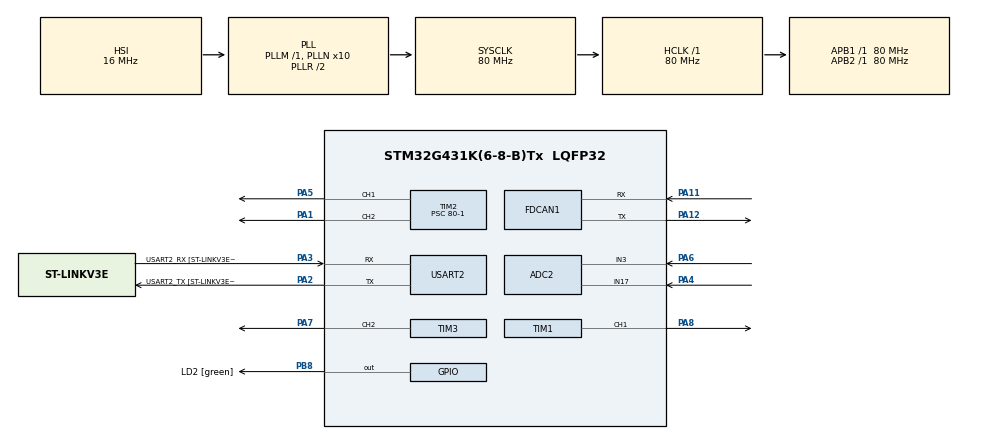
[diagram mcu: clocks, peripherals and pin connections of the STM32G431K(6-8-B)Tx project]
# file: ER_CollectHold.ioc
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ADC2.Channel-0\#ChannelRegularConversion=ADC_CHANNEL_3
ADC2.Channel-1\#ChannelRegularConversion=ADC_CHANNEL_17
ADC2.ContinuousConvMode=ENABLE
ADC2.DMAContinuousRequests=ENABLE
ADC2.NbrOfConversion=2
ADC2.NbrOfConversionFlag=1
ADC2.OffsetNumber-0\#ChannelRegularConversion=ADC_OFFSET_NONE
ADC2.OffsetNumber-1\#ChannelRegularConversion=ADC_OFFSET_NONE
ADC2.Rank-0\#ChannelRegularConversion=1
ADC2.Rank-1\#ChannelRegularConversion=2
ADC2.SamplingTime-0\#ChannelRegularConversion=ADC_SAMPLETIME_92CYCLES_5
ADC2.SamplingTime-1\#ChannelRegularConversion=ADC_SAMPLETIME_92CYCLES_5
Dma.ADC2.0.Direction=DMA_PERIPH_TO_MEMORY
Dma.ADC2.0.EventEnable=DISABLE
Dma.ADC2.0.Instance=DMA1_Channel1
Dma.ADC2.0.MemDataAlignment=DMA_MDATAALIGN_HALFWORD
Dma.ADC2.0.MemInc=DMA_MINC_ENABLE
Dma.ADC2.0.Mode=DMA_CIRCULAR
Dma.ADC2.0.PeriphDataAlignment=DMA_PDATAALIGN_HALFWORD
Dma.ADC2.0.PeriphInc=DMA_PINC_DISABLE
Dma.ADC2.0.Polarity=HAL_DMAMUX_REQ_GEN_RISING
Dma.ADC2.0.Priority=DMA_PRIORITY_LOW
Dma.ADC2.0.RequestNumber=1
Dma.ADC2.0.SignalID=NONE
Dma.ADC2.0.SyncEnable=DISABLE
Dma.ADC2.0.SyncPolarity=HAL_DMAMUX_SYNC_NO_EVENT
Dma.ADC2.0.SyncRequestNumber=1
Dma.ADC2.0.SyncSignalID=NONE
Dma.Request0=ADC2
FDCAN1.CalculateBaudRateNominal=1000000
FDCAN1.CalculateTimeBitNominal=1000
FDCAN1.CalculateTimeQuantumNominal=62.5
FDCAN1.DataPrescaler=2
FDCAN1.DataSyncJumpWidth=2
FDCAN1.DataTimeSeg1=10
FDCAN1.DataTimeSeg2=9
FDCAN1.FrameFormat=FDCAN_FRAME_FD_BRS
FDCAN1.NominalPrescaler=5
FDCAN1.NominalSyncJumpWidth=2
FDCAN1.NominalTimeSeg1=13
FDCAN1.StdFiltersNbr=1
Mcu.Family=STM32G4
Mcu.Name=STM32G431K(6-8-B)Tx
Mcu.Package=LQFP32
NVIC.DMA1_Channel1_IRQn=true\:0\:0\:false\:false\:true\:false\:true\:true
NVIC.FDCAN1_IT0_IRQn=true\:0\:0\:false\:false\:true\:true\:true\:true
NVIC.PriorityGroup=NVIC_PRIORITYGROUP_4
NVIC.TIM1_TRG_COM_TIM17_IRQn=true\:15\:0\:false\:false\:true\:false\:true\:true
NVIC.TimeBase=TIM1_TRG_COM_TIM17_IRQn
NVIC.TimeBaseIP=TIM17
PA1.Signal=S_TIM2_CH2
PA11.Mode=FDCAN_Activate
PA11.Signal=FDCAN1_RX
PA12.Mode=FDCAN_Activate
PA12.Signal=FDCAN1_TX
PA13.GPIO_Label=T_SWDIO
PA13.Mode=Serial_Wire
PA13.Signal=SYS_JTMS-SWDIO
PA14.GPIO_Label=T_SWCLK
PA14.Mode=Serial_Wire
PA14.Signal=SYS_JTCK-SWCLK
PA2.GPIO_Label=USART2_TX [ST-LINKV3E_VCP_RX]
PA2.Mode=Asynchronous
PA2.Signal=USART2_TX
PA3.GPIO_Label=USART2_RX [ST-LINKV3E_VCP_TX]
PA3.Mode=Asynchronous
PA3.Signal=USART2_RX
PA4.Mode=IN17-Single-Ended
PA4.Signal=ADC2_IN17
PA5.Signal=S_TIM2_CH1
PA6.Mode=IN3-Single-Ended
PA6.Signal=ADC2_IN3
PA7.Signal=S_TIM3_CH2
PA8.Signal=S_TIM1_CH1
PB3.GPIO_Label=T_SWO
PB3.Signal=SYS_JTDO-SWO
PB8-BOOT0.GPIO_Label=LD2 [green]
PB8-BOOT0.Signal=GPIO_Output
ProjectManager.HeapSize=0x200
ProjectManager.StackSize=0x400
ProjectManager.TargetToolchain=STM32CubeIDE
RCC.ADC12Freq_Value=80000000
RCC.AHBFreq_Value=80000000
RCC.APB1Freq_Value=80000000
RCC.APB1TimFreq_Value=80000000
RCC.APB2Freq_Value=80000000
RCC.APB2TimFreq_Value=80000000
RCC.CortexFreq_Value=80000000
RCC.EXTERNAL_CLOCK_VALUE=12288000
RCC.HCLKFreq_Value=80000000
RCC.HSE_VALUE=8000000
RCC.HSI48_VALUE=48000000
RCC.HSI_VALUE=16000000
RCC.LSE_VALUE=32768
RCC.PLLN=10
RCC.SYSCLKFreq_VALUE=80000000
RCC.SYSCLKSource=RCC_SYSCLKSOURCE_PLLCLK
RCC.USBFreq_Value=80000000
RCC.VCOOutputFreq_Value=160000000
SH.S_TIM1_CH1.0=TIM1_CH1,PWM Generation1 CH1
SH.S_TIM2_CH1.0=TIM2_CH1,PWM Generation1 CH1
SH.S_TIM2_CH2.0=TIM2_CH2,PWM Generation2 CH2
SH.S_TIM3_CH2.0=TIM3_CH2,PWM Generation2 CH2
TIM1.Channel-PWM\ Generation1\ CH1=TIM_CHANNEL_1
TIM1.PeriodNoDither=1000-1
TIM1.Prescaler=80-1
TIM2.Channel-PWM\ Generation1\ CH1=TIM_CHANNEL_1
TIM2.Channel-PWM\ Generation2\ CH2=TIM_CHANNEL_2
TIM2.PeriodNoDither=1000-1
TIM2.Prescaler=80-1
TIM3.Channel-PWM\ Generation2\ CH2=TIM_CHANNEL_2
TIM3.PeriodNoDither=1000-1
TIM3.Prescaler=80-1
USART2.VirtualMode-Asynchronous=VM_ASYNC
USART2.WordLength=WORDLENGTH_8B
VP_SYS_VS_DBSignals.Mode=DisableDeadBatterySignals
VP_SYS_VS_tim17.Mode=TIM17
VP_TIM1_VS_ClockSourceINT.Mode=Internal
VP_TIM2_VS_ClockSourceINT.Mode=Internal
VP_TIM3_VS_ClockSourceINT.Mode=Internal
board=NUCLEO-G431KB

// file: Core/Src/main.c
/* USER CODE BEGIN Header */
/**
  ******************************************************************************
  * @file           : main.c
  * @brief          : Main program body
  ******************************************************************************
  * @attention
  *
  * <h2><center>&copy; Copyright (c) 2023 STMicroelectronics.
  * All rights reserved.</center></h2>
  *
  * This software component is licensed by ST under BSD 3-Clause license,
  * the "License"; You may not use this file except in compliance with the
  * License. You may obtain a copy of the License at:
  *                        opensource.org/licenses/BSD-3-Clause
  *
  ******************************************************************************
  */
/* USER CODE END Header */
#include "main.h"

/* USER CODE BEGIN Includes */
#include "stdio.h"
/* USER CODE END Includes */

/* USER CODE BEGIN PD */
#define OPEN 0
#define CLOSE 1

#define Kp 1.0f

#define DUTY 400
#define FILTER_C 0.9

#define _min(x, y) ((x < y) ? x : y)
/* USER CODE END PD */

ADC_HandleTypeDef hadc2;
DMA_HandleTypeDef hdma_adc2;

FDCAN_HandleTypeDef hfdcan1;

TIM_HandleTypeDef htim1;
TIM_HandleTypeDef htim2;
TIM_HandleTypeDef htim3;

UART_HandleTypeDef huart2;

/* USER CODE BEGIN PV */
uint16_t ADCBuffer[2];

int status = OPEN;
float ADC_val_0 = 0;
float ADC_val_1 = 0;

FDCAN_TxHeaderTypeDef TxHeader;
FDCAN_RxHeaderTypeDef RxHeader;
FDCAN_FilterTypeDef sFilterConfig;

uint8_t TxData[1];
uint8_t RxData[1];
uint32_t TxMailbox;
/* USER CODE END PV */

void SystemClock_Config(void);
static void MX_GPIO_Init(void);
static void MX_DMA_Init(void);
static void MX_ADC2_Init(void);
static void MX_USART2_UART_Init(void);
static void MX_TIM1_Init(void);
static void MX_TIM2_Init(void);
static void MX_TIM3_Init(void);
static void MX_FDCAN1_Init(void);

int main(void)
{

  /* MCU Configuration--------------------------------------------------------*/

  /* Reset of all peripherals, Initializes the Flash interface and the Systick. */
  HAL_Init();

  /* Configure the system clock */
  SystemClock_Config();

  /* Initialize all configured peripherals */
  MX_GPIO_Init();
  MX_DMA_Init();
  MX_ADC2_Init();
  MX_USART2_UART_Init();
  MX_TIM1_Init();
  MX_TIM2_Init();
  MX_TIM3_Init();
  MX_FDCAN1_Init();
  /* USER CODE BEGIN 2 */
  HAL_ADCEx_Calibration_Start(&hadc2, ADC_SINGLE_ENDED);
  HAL_ADC_Start_DMA(&hadc2, (uint32_t *)ADCBuffer, 2);
  HAL_TIM_PWM_Start(&htim1, TIM_CHANNEL_1);
  HAL_TIM_PWM_Start(&htim2, TIM_CHANNEL_1);
  HAL_TIM_PWM_Start(&htim2, TIM_CHANNEL_2);
  HAL_TIM_PWM_Start(&htim3, TIM_CHANNEL_2);

    TxHeader.Identifier = 0x517;
    TxHeader.IdType = FDCAN_STANDARD_ID;
    TxHeader.TxFrameType = FDCAN_DATA_FRAME;
    TxHeader.DataLength = FDCAN_DLC_BYTES_1;
    TxHeader.ErrorStateIndicator = FDCAN_ESI_ACTIVE;
    TxHeader.BitRateSwitch = FDCAN_BRS_ON;
    TxHeader.FDFormat = FDCAN_FD_CAN;
    TxHeader.TxEventFifoControl = FDCAN_NO_TX_EVENTS;
    TxHeader.MessageMarker = 0;

    FDCAN_FilterTypeDef sFilterConfig;
    sFilterConfig.IdType = FDCAN_STANDARD_ID;
    sFilterConfig.FilterIndex = 0;
    sFilterConfig.FilterType = FDCAN_FILTER_DUAL;
    sFilterConfig.FilterConfig = FDCAN_FILTER_TO_RXFIFO0;
    sFilterConfig.FilterID1 = 0x051;
    sFilterConfig.FilterID2 = 0x321;

    if (HAL_FDCAN_ConfigFilter(&hfdcan1, &sFilterConfig) != HAL_OK) {
        Error_Handler();
    }
    if (HAL_FDCAN_ConfigGlobalFilter(&hfdcan1, FDCAN_REJECT, FDCAN_REJECT, FDCAN_FILTER_REMOTE, FDCAN_FILTER_REMOTE) !=
        HAL_OK) {
        Error_Handler();
    }

    /* Start the FDCAN module */
    if (HAL_FDCAN_Start(&hfdcan1) != HAL_OK) {
        Error_Handler();
    }
    if (HAL_FDCAN_ActivateNotification(&hfdcan1, FDCAN_IT_RX_FIFO0_NEW_MESSAGE, 0) != HAL_OK){
        Error_Handler();
    }
  /* USER CODE END 2 */

  /* Infinite loop */
  /* USER CODE BEGIN WHILE */
  //　ADCBuff[0] -> 3300close, 3400open
  //  ADCbuff[1] -> 1700close，1800open

  //TIM1, TIM_CHANNEL_1 : ADCBuff1 open
  //TIM2, TIM_CHANNEL_1 : ADCBuff0 close
  //TIM2, TIM_CHANNEL_2 : ADCBuff1 close
  //TIM3, TIM_CHANNEL_2 : ADCBuff0 open

  __HAL_TIM_SET_COMPARE(&htim3, TIM_CHANNEL_2, 500);
  HAL_Delay(500);
  __HAL_TIM_SET_COMPARE(&htim3, TIM_CHANNEL_2, 0);
  while (1)
  {
    ADC_val_0 = FILTER_C * ADC_val_0 + (1 - FILTER_C) * ADCBuffer[0];
    ADC_val_1 = FILTER_C * ADC_val_1 + (1 - FILTER_C) * ADCBuffer[1];

    if (status == OPEN) {
      if (ADC_val_0 < 3400) {
        HAL_TIM_PWM_Start(&htim3, TIM_CHANNEL_2);
        __HAL_TIM_SET_COMPARE(&htim3, TIM_CHANNEL_2, _min(Kp*(int)(3400 - ADC_val_0), 990));
      } else {
        HAL_TIM_PWM_Stop(&htim3, TIM_CHANNEL_2);
      }
      if (ADC_val_1 < 1800) {
        HAL_TIM_PWM_Start(&htim1, TIM_CHANNEL_1);
        __HAL_TIM_SET_COMPARE(&htim1, TIM_CHANNEL_1, _min(Kp*(int)(1800 - ADC_val_1), 990));
      } else {
        HAL_TIM_PWM_Stop(&htim1, TIM_CHANNEL_1);
      }
    } else  {
      if (ADC_val_0 > 3300) {
        HAL_TIM_PWM_Start(&htim2, TIM_CHANNEL_1);
        __HAL_TIM_SET_COMPARE(&htim2, TIM_CHANNEL_1, _min(Kp*(int)(ADC_val_0 - 3300), 990));
      } else {
        HAL_TIM_PWM_Stop(&htim2, TIM_CHANNEL_1);
      }
      if (ADC_val_1 > 1700) {
        HAL_TIM_PWM_Start(&htim2, TIM_CHANNEL_2);
        __HAL_TIM_SET_COMPARE(&htim2, TIM_CHANNEL_2, _min(Kp*(int)(ADC_val_1 - 1700), 990));
      } else {
        HAL_TIM_PWM_Stop(&htim2, TIM_CHANNEL_2);
      }
    }
    /* USER CODE END WHILE */

  }
}

void SystemClock_Config(void)
{
  RCC_OscInitTypeDef RCC_OscInitStruct = {0};
  RCC_ClkInitTypeDef RCC_ClkInitStruct = {0};

  /** Configure the main internal regulator output voltage
  */
  HAL_PWREx_ControlVoltageScaling(PWR_REGULATOR_VOLTAGE_SCALE1);

  /** Initializes the RCC Oscillators according to the specified parameters
  * in the RCC_OscInitTypeDef structure.
  */
  RCC_OscInitStruct.OscillatorType = RCC_OSCILLATORTYPE_HSI;
  RCC_OscInitStruct.HSIState = RCC_HSI_ON;
  RCC_OscInitStruct.HSICalibrationValue = RCC_HSICALIBRATION_DEFAULT;
  RCC_OscInitStruct.PLL.PLLState = RCC_PLL_ON;
  RCC_OscInitStruct.PLL.PLLSource = RCC_PLLSOURCE_HSI;
  RCC_OscInitStruct.PLL.PLLM = RCC_PLLM_DIV1;
  RCC_OscInitStruct.PLL.PLLN = 10;
  RCC_OscInitStruct.PLL.PLLP = RCC_PLLP_DIV2;
  RCC_OscInitStruct.PLL.PLLQ = RCC_PLLQ_DIV2;
  RCC_OscInitStruct.PLL.PLLR = RCC_PLLR_DIV2;
  if (HAL_RCC_OscConfig(&RCC_OscInitStruct) != HAL_OK)
  {
    Error_Handler();
  }

  /** Initializes the CPU, AHB and APB buses clocks
  */
  RCC_ClkInitStruct.ClockType = RCC_CLOCKTYPE_HCLK|RCC_CLOCKTYPE_SYSCLK
                              |RCC_CLOCKTYPE_PCLK1|RCC_CLOCKTYPE_PCLK2;
  RCC_ClkInitStruct.SYSCLKSource = RCC_SYSCLKSOURCE_PLLCLK;
  RCC_ClkInitStruct.AHBCLKDivider = RCC_SYSCLK_DIV1;
  RCC_ClkInitStruct.APB1CLKDivider = RCC_HCLK_DIV1;
  RCC_ClkInitStruct.APB2CLKDivider = RCC_HCLK_DIV1;

  if (HAL_RCC_ClockConfig(&RCC_ClkInitStruct, FLASH_LATENCY_2) != HAL_OK)
  {
    Error_Handler();
  }
}

static void MX_ADC2_Init(void)
{

  ADC_ChannelConfTypeDef sConfig = {0};

  /** Common config
  */
  hadc2.Instance = ADC2;
  hadc2.Init.ClockPrescaler = ADC_CLOCK_SYNC_PCLK_DIV2;
  hadc2.Init.Resolution = ADC_RESOLUTION_12B;
  hadc2.Init.DataAlign = ADC_DATAALIGN_RIGHT;
  hadc2.Init.GainCompensation = 0;
  hadc2.Init.ScanConvMode = ADC_SCAN_ENABLE;
  hadc2.Init.EOCSelection = ADC_EOC_SINGLE_CONV;
  hadc2.Init.LowPowerAutoWait = DISABLE;
  hadc2.Init.ContinuousConvMode = ENABLE;
  hadc2.Init.NbrOfConversion = 2;
  hadc2.Init.DiscontinuousConvMode = DISABLE;
  hadc2.Init.ExternalTrigConv = ADC_SOFTWARE_START;
  hadc2.Init.ExternalTrigConvEdge = ADC_EXTERNALTRIGCONVEDGE_NONE;
  hadc2.Init.DMAContinuousRequests = ENABLE;
  hadc2.Init.Overrun = ADC_OVR_DATA_PRESERVED;
  hadc2.Init.OversamplingMode = DISABLE;
  if (HAL_ADC_Init(&hadc2) != HAL_OK)
  {
    Error_Handler();
  }

  /** Configure Regular Channel
  */
  sConfig.Channel = ADC_CHANNEL_3;
  sConfig.Rank = ADC_REGULAR_RANK_1;
  sConfig.SamplingTime = ADC_SAMPLETIME_92CYCLES_5;
  sConfig.SingleDiff = ADC_SINGLE_ENDED;
  sConfig.OffsetNumber = ADC_OFFSET_NONE;
  sConfig.Offset = 0;
  if (HAL_ADC_ConfigChannel(&hadc2, &sConfig) != HAL_OK)
  {
    Error_Handler();
  }

  /** Configure Regular Channel
  */
  sConfig.Channel = ADC_CHANNEL_17;
  sConfig.Rank = ADC_REGULAR_RANK_2;
  if (HAL_ADC_ConfigChannel(&hadc2, &sConfig) != HAL_OK)
  {
    Error_Handler();
  }

}

static void MX_FDCAN1_Init(void)
{

  hfdcan1.Instance = FDCAN1;
  hfdcan1.Init.ClockDivider = FDCAN_CLOCK_DIV1;
  hfdcan1.Init.FrameFormat = FDCAN_FRAME_FD_BRS;
  hfdcan1.Init.Mode = FDCAN_MODE_NORMAL;
  hfdcan1.Init.AutoRetransmission = DISABLE;
  hfdcan1.Init.TransmitPause = DISABLE;
  hfdcan1.Init.ProtocolException = DISABLE;
  hfdcan1.Init.NominalPrescaler = 5;
  hfdcan1.Init.NominalSyncJumpWidth = 2;
  hfdcan1.Init.NominalTimeSeg1 = 13;
  hfdcan1.Init.NominalTimeSeg2 = 2;
  hfdcan1.Init.DataPrescaler = 2;
  hfdcan1.Init.DataSyncJumpWidth = 2;
  hfdcan1.Init.DataTimeSeg1 = 10;
  hfdcan1.Init.DataTimeSeg2 = 9;
  hfdcan1.Init.StdFiltersNbr = 1;
  hfdcan1.Init.ExtFiltersNbr = 0;
  hfdcan1.Init.TxFifoQueueMode = FDCAN_TX_FIFO_OPERATION;
  if (HAL_FDCAN_Init(&hfdcan1) != HAL_OK)
  {
    Error_Handler();
  }

}

static void MX_TIM1_Init(void)
{

  TIM_ClockConfigTypeDef sClockSourceConfig = {0};
  TIM_MasterConfigTypeDef sMasterConfig = {0};
  TIM_OC_InitTypeDef sConfigOC = {0};
  TIM_BreakDeadTimeConfigTypeDef sBreakDeadTimeConfig = {0};

  htim1.Instance = TIM1;
  htim1.Init.Prescaler = 80-1;
  htim1.Init.CounterMode = TIM_COUNTERMODE_UP;
  htim1.Init.Period = 999;
  htim1.Init.ClockDivision = TIM_CLOCKDIVISION_DIV1;
  htim1.Init.RepetitionCounter = 0;
  htim1.Init.AutoReloadPreload = TIM_AUTORELOAD_PRELOAD_DISABLE;
  if (HAL_TIM_Base_Init(&htim1) != HAL_OK)
  {
    Error_Handler();
  }
  sClockSourceConfig.ClockSource = TIM_CLOCKSOURCE_INTERNAL;
  if (HAL_TIM_ConfigClockSource(&htim1, &sClockSourceConfig) != HAL_OK)
  {
    Error_Handler();
  }
  if (HAL_TIM_PWM_Init(&htim1) != HAL_OK)
  {
    Error_Handler();
  }
  sMasterConfig.MasterOutputTrigger = TIM_TRGO_RESET;
  sMasterConfig.MasterOutputTrigger2 = TIM_TRGO2_RESET;
  sMasterConfig.MasterSlaveMode = TIM_MASTERSLAVEMODE_DISABLE;
  if (HAL_TIMEx_MasterConfigSynchronization(&htim1, &sMasterConfig) != HAL_OK)
  {
    Error_Handler();
  }
  sConfigOC.OCMode = TIM_OCMODE_PWM1;
  sConfigOC.Pulse = 0;
  sConfigOC.OCPolarity = TIM_OCPOLARITY_HIGH;
  sConfigOC.OCNPolarity = TIM_OCNPOLARITY_HIGH;
  sConfigOC.OCFastMode = TIM_OCFAST_DISABLE;
  sConfigOC.OCIdleState = TIM_OCIDLESTATE_RESET;
  sConfigOC.OCNIdleState = TIM_OCNIDLESTATE_RESET;
  if (HAL_TIM_PWM_ConfigChannel(&htim1, &sConfigOC, TIM_CHANNEL_1) != HAL_OK)
  {
    Error_Handler();
  }
  sBreakDeadTimeConfig.OffStateRunMode = TIM_OSSR_DISABLE;
  sBreakDeadTimeConfig.OffStateIDLEMode = TIM_OSSI_DISABLE;
  sBreakDeadTimeConfig.LockLevel = TIM_LOCKLEVEL_OFF;
  sBreakDeadTimeConfig.DeadTime = 0;
  sBreakDeadTimeConfig.BreakState = TIM_BREAK_DISABLE;
  sBreakDeadTimeConfig.BreakPolarity = TIM_BREAKPOLARITY_HIGH;
  sBreakDeadTimeConfig.BreakFilter = 0;
  sBreakDeadTimeConfig.BreakAFMode = TIM_BREAK_AFMODE_INPUT;
  sBreakDeadTimeConfig.Break2State = TIM_BREAK2_DISABLE;
  sBreakDeadTimeConfig.Break2Polarity = TIM_BREAK2POLARITY_HIGH;
  sBreakDeadTimeConfig.Break2Filter = 0;
  sBreakDeadTimeConfig.Break2AFMode = TIM_BREAK_AFMODE_INPUT;
  sBreakDeadTimeConfig.AutomaticOutput = TIM_AUTOMATICOUTPUT_DISABLE;
  if (HAL_TIMEx_ConfigBreakDeadTime(&htim1, &sBreakDeadTimeConfig) != HAL_OK)
  {
    Error_Handler();
  }
  HAL_TIM_MspPostInit(&htim1);

}

static void MX_TIM2_Init(void)
{

  TIM_ClockConfigTypeDef sClockSourceConfig = {0};
  TIM_MasterConfigTypeDef sMasterConfig = {0};
  TIM_OC_InitTypeDef sConfigOC = {0};

  htim2.Instance = TIM2;
  htim2.Init.Prescaler = 80-1;
  htim2.Init.CounterMode = TIM_COUNTERMODE_UP;
  htim2.Init.Period = 999;
  htim2.Init.ClockDivision = TIM_CLOCKDIVISION_DIV1;
  htim2.Init.AutoReloadPreload = TIM_AUTORELOAD_PRELOAD_DISABLE;
  if (HAL_TIM_Base_Init(&htim2) != HAL_OK)
  {
    Error_Handler();
  }
  sClockSourceConfig.ClockSource = TIM_CLOCKSOURCE_INTERNAL;
  if (HAL_TIM_ConfigClockSource(&htim2, &sClockSourceConfig) != HAL_OK)
  {
    Error_Handler();
  }
  if (HAL_TIM_PWM_Init(&htim2) != HAL_OK)
  {
    Error_Handler();
  }
  sMasterConfig.MasterOutputTrigger = TIM_TRGO_RESET;
  sMasterConfig.MasterSlaveMode = TIM_MASTERSLAVEMODE_DISABLE;
  if (HAL_TIMEx_MasterConfigSynchronization(&htim2, &sMasterConfig) != HAL_OK)
  {
    Error_Handler();
  }
  sConfigOC.OCMode = TIM_OCMODE_PWM1;
  sConfigOC.Pulse = 0;
  sConfigOC.OCPolarity = TIM_OCPOLARITY_HIGH;
  sConfigOC.OCFastMode = TIM_OCFAST_DISABLE;
  if (HAL_TIM_PWM_ConfigChannel(&htim2, &sConfigOC, TIM_CHANNEL_1) != HAL_OK)
  {
    Error_Handler();
  }
  if (HAL_TIM_PWM_ConfigChannel(&htim2, &sConfigOC, TIM_CHANNEL_2) != HAL_OK)
  {
    Error_Handler();
  }
  HAL_TIM_MspPostInit(&htim2);

}

static void MX_TIM3_Init(void)
{

  TIM_ClockConfigTypeDef sClockSourceConfig = {0};
  TIM_MasterConfigTypeDef sMasterConfig = {0};
  TIM_OC_InitTypeDef sConfigOC = {0};

  htim3.Instance = TIM3;
  htim3.Init.Prescaler = 80-1;
  htim3.Init.CounterMode = TIM_COUNTERMODE_UP;
  htim3.Init.Period = 999;
  htim3.Init.ClockDivision = TIM_CLOCKDIVISION_DIV1;
  htim3.Init.AutoReloadPreload = TIM_AUTORELOAD_PRELOAD_DISABLE;
  if (HAL_TIM_Base_Init(&htim3) != HAL_OK)
  {
    Error_Handler();
  }
  sClockSourceConfig.ClockSource = TIM_CLOCKSOURCE_INTERNAL;
  if (HAL_TIM_ConfigClockSource(&htim3, &sClockSourceConfig) != HAL_OK)
  {
    Error_Handler();
  }
  if (HAL_TIM_PWM_Init(&htim3) != HAL_OK)
  {
    Error_Handler();
  }
  sMasterConfig.MasterOutputTrigger = TIM_TRGO_RESET;
  sMasterConfig.MasterSlaveMode = TIM_MASTERSLAVEMODE_DISABLE;
  if (HAL_TIMEx_MasterConfigSynchronization(&htim3, &sMasterConfig) != HAL_OK)
  {
    Error_Handler();
  }
  sConfigOC.OCMode = TIM_OCMODE_PWM1;
  sConfigOC.Pulse = 0;
  sConfigOC.OCPolarity = TIM_OCPOLARITY_HIGH;
  sConfigOC.OCFastMode = TIM_OCFAST_DISABLE;
  if (HAL_TIM_PWM_ConfigChannel(&htim3, &sConfigOC, TIM_CHANNEL_2) != HAL_OK)
  {
    Error_Handler();
  }
  HAL_TIM_MspPostInit(&htim3);

}

static void MX_USART2_UART_Init(void)
{

  huart2.Instance = USART2;
  huart2.Init.BaudRate = 115200;
  huart2.Init.WordLength = UART_WORDLENGTH_8B;
  huart2.Init.StopBits = UART_STOPBITS_1;
  huart2.Init.Parity = UART_PARITY_NONE;
  huart2.Init.Mode = UART_MODE_TX_RX;
  huart2.Init.HwFlowCtl = UART_HWCONTROL_NONE;
  huart2.Init.OverSampling = UART_OVERSAMPLING_16;
  huart2.Init.OneBitSampling = UART_ONE_BIT_SAMPLE_DISABLE;
  huart2.Init.ClockPrescaler = UART_PRESCALER_DIV1;
  huart2.AdvancedInit.AdvFeatureInit = UART_ADVFEATURE_NO_INIT;
  if (HAL_UART_Init(&huart2) != HAL_OK)
  {
    Error_Handler();
  }
  if (HAL_UARTEx_SetTxFifoThreshold(&huart2, UART_TXFIFO_THRESHOLD_1_8) != HAL_OK)
  {
    Error_Handler();
  }
  if (HAL_UARTEx_SetRxFifoThreshold(&huart2, UART_RXFIFO_THRESHOLD_1_8) != HAL_OK)
  {
    Error_Handler();
  }
  if (HAL_UARTEx_DisableFifoMode(&huart2) != HAL_OK)
  {
    Error_Handler();
  }

}

static void MX_DMA_Init(void)
{

  /* DMA controller clock enable */
  __HAL_RCC_DMAMUX1_CLK_ENABLE();
  __HAL_RCC_DMA1_CLK_ENABLE();

  /* DMA interrupt init */
  /* DMA1_Channel1_IRQn interrupt configuration */
  HAL_NVIC_SetPriority(DMA1_Channel1_IRQn, 0, 0);
  HAL_NVIC_EnableIRQ(DMA1_Channel1_IRQn);

}

static void MX_GPIO_Init(void)
{
  GPIO_InitTypeDef GPIO_InitStruct = {0};

  /* GPIO Ports Clock Enable */
  __HAL_RCC_GPIOA_CLK_ENABLE();
  __HAL_RCC_GPIOB_CLK_ENABLE();

  /*Configure GPIO pin Output Level */
  HAL_GPIO_WritePin(LD2_GPIO_Port, LD2_Pin, GPIO_PIN_RESET);

  /*Configure GPIO pin : LD2_Pin */
  GPIO_InitStruct.Pin = LD2_Pin;
  GPIO_InitStruct.Mode = GPIO_MODE_OUTPUT_PP;
  GPIO_InitStruct.Pull = GPIO_NOPULL;
  GPIO_InitStruct.Speed = GPIO_SPEED_FREQ_LOW;
  HAL_GPIO_Init(LD2_GPIO_Port, &GPIO_InitStruct);

}

/* USER CODE BEGIN 4 */
void HAL_FDCAN_RxFifo0Callback(FDCAN_HandleTypeDef *hfdcan1, uint32_t RxFifo0ITs) {
    if ((RxFifo0ITs & FDCAN_IT_RX_FIFO0_NEW_MESSAGE) != RESET) {
        /* Retrieve Rx messages from RX FIFO0 */
        if (HAL_FDCAN_GetRxMessage(hfdcan1, FDCAN_RX_FIFO0, &RxHeader, RxData) != HAL_OK) {
            Error_Handler();
        }

        if ((RxHeader.Identifier == 0x321)) {
            status = CLOSE;
        }
        if ((RxHeader.Identifier == 0x051)) {
            // 初期化処理
            status = OPEN;
        }
    }
}
/* USER CODE END 4 */

void HAL_TIM_PeriodElapsedCallback(TIM_HandleTypeDef *htim)
{
  if (htim->Instance == TIM17) {
    HAL_IncTick();
  }
}

void Error_Handler(void)
{
  __disable_irq();
  while (1)
  {
  }
}
